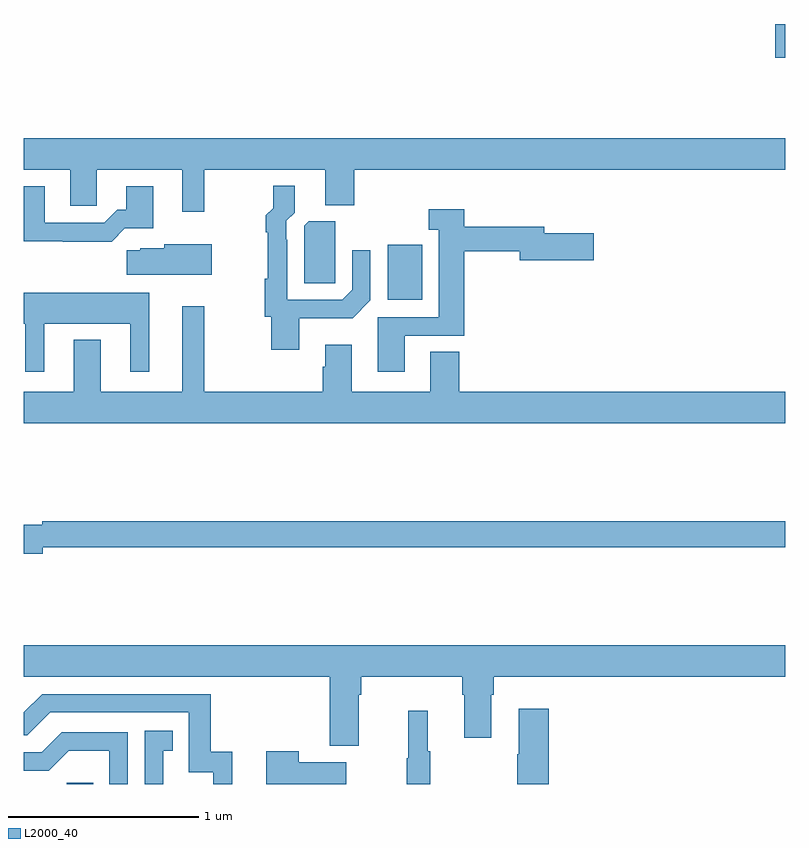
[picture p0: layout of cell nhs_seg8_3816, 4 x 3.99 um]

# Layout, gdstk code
import gdstk
lib = gdstk.Library(unit=1e-6, precision=1e-09)
def R(c, l, rs):  # rectangles x0, y0, x1, y1
    for r in rs: c.add(gdstk.rectangle(r[:2], r[2:], *l))
def P(c, l, *ps):  # polygons
    for p in ps: c.add(gdstk.Polygon(p, *l))
L2000_40 = (2000, 40)

nhs_seg8_3816 = lib.new_cell('nhs_seg8_3816')
R(nhs_seg8_3816, L2000_40, [(345.225,1151.9,345.365,1151.907), (346.913,1154.444,347.092,1154.734), (348.948,1155.715,349,1155.893)])
P(nhs_seg8_3816, L2000_40, [(345.947,1155.128),(346.583,1155.128),(346.583,1154.941),(346.736,1154.941),(346.736,1155.128),(349,1155.128),(349,1155.292),(345,1155.292),(345,1155.128),(345.245,1155.128),(345.245,1154.938),(345.384,1154.938),(345.384,1155.128),(345.833,1155.128),(345.833,1154.907),(345.947,1154.907)],
  [(346.447,1154.348),(346.727,1154.348),(346.821,1154.442),(346.821,1154.704),(346.725,1154.704),(346.725,1154.496),(346.674,1154.445),(346.383,1154.445),(346.383,1154.759),(346.38,1154.759),(346.38,1154.859),(346.423,1154.902),(346.423,1155.043),(346.311,1155.043),(346.311,1154.926),(346.272,1154.888),(346.272,1154.798),(346.282,1154.798),(346.282,1154.555),(346.267,1154.555),(346.267,1154.355),(346.3,1154.355),(346.3,1154.181),(346.447,1154.181)],
  [(345.531,1154.82),(345.679,1154.82),(345.679,1155.04),(345.539,1155.04),(345.539,1154.917),(345.49,1154.917),(345.423,1154.85),(345.109,1154.85),(345.109,1155.04),(345,1155.04),(345,1154.752),(345.205,1154.752),(345.205,1154.75),(345.461,1154.75)],
  [(347.002,1154.256),(347.315,1154.256),(347.315,1154.698),(347.606,1154.698),(347.606,1154.651),(347.995,1154.651),(347.995,1154.793),(347.734,1154.793),(347.734,1154.827),(347.315,1154.827),(347.315,1154.921),(347.127,1154.921),(347.127,1154.811),(347.18,1154.811),(347.18,1154.352),(346.859,1154.352),(346.859,1154.067),(347.002,1154.067)],
  [(346.635,1154.641),(346.636,1154.641),(346.636,1154.856),(346.497,1154.856),(346.473,1154.832),(346.473,1154.53),(346.635,1154.53)],
  [(345.988,1154.737),(345.738,1154.737),(345.738,1154.716),(345.612,1154.716),(345.612,1154.705),(345.54,1154.705),(345.54,1154.576),(345.988,1154.576)],
  [(345.106,1154.318),(345.56,1154.318),(345.56,1154.067),(345.658,1154.067),(345.658,1154.482),(345,1154.482),(345,1154.318),(345.008,1154.318),(345.008,1154.067),(345.106,1154.067)],
  [(349,1153.96),(347.288,1153.96),(347.288,1154.171),(347.135,1154.171),(347.135,1153.96),(346.723,1153.96),(346.723,1154.209),(346.583,1154.209),(346.583,1154.093),(346.571,1154.093),(346.571,1153.96),(345.947,1153.96),(345.947,1154.41),(345.833,1154.41),(345.833,1153.96),(345.403,1153.96),(345.403,1154.233),(345.263,1154.233),(345.263,1153.96),(345,1153.96),(345,1153.796),(349,1153.796)],
  [(345.1,1153.144),(349,1153.144),(349,1153.28),(345.096,1153.28),(345.096,1153.261),(345,1153.261),(345,1153.109),(345.1,1153.109)],
  [(345,1152.464),(346.607,1152.464),(346.607,1152.102),(346.759,1152.102),(346.759,1152.368),(346.772,1152.368),(346.772,1152.464),(347.303,1152.464),(347.303,1152.368),(347.315,1152.368),(347.315,1152.144),(347.455,1152.144),(347.455,1152.368),(347.468,1152.368),(347.468,1152.464),(349,1152.464),(349,1152.628),(345,1152.628)],
  [(346.094,1152.07),(345.983,1152.07),(345.983,1152.372),(345.096,1152.372),(345,1152.276),(345,1152.156),(345.018,1152.156),(345.138,1152.276),(345.867,1152.276),(345.867,1151.961),(345.996,1151.961),(345.996,1151.9),(346.094,1151.9)],
  [(347.759,1152.295),(347.6,1152.295),(347.6,1152.056),(347.593,1152.056),(347.593,1151.9),(347.759,1151.9)],
  [(347.134,1152.073),(347.123,1152.073),(347.123,1152.286),(347.02,1152.286),(347.02,1152.036),(347.013,1152.036),(347.013,1151.9),(347.134,1151.9)],
  [(345.733,1152.075),(345.782,1152.075),(345.782,1152.181),(345.636,1152.181),(345.636,1151.9),(345.733,1151.9)],
  [(345.546,1152.171),(345.2,1152.171),(345.095,1152.066),(345,1152.066),(345,1151.97),(345.132,1151.97),(345.236,1152.074),(345.45,1152.074),(345.45,1151.9),(345.546,1151.9)],
  [(346.693,1152.013),(346.445,1152.013),(346.445,1152.073),(346.274,1152.073),(346.274,1151.9),(346.693,1151.9)])

lib.write_gds('nhs_seg8_3816.gds')
